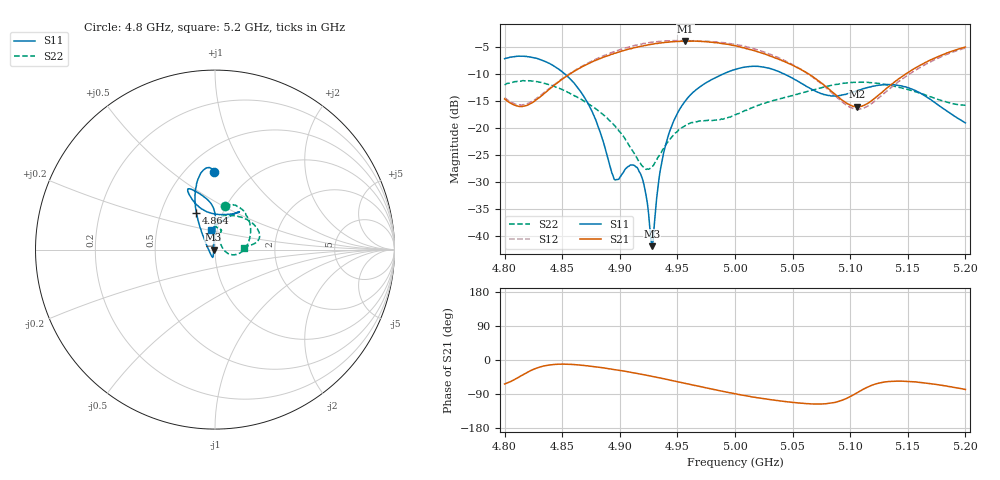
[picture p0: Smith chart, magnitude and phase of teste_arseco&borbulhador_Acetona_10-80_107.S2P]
! Network Analyzer HP8722D
! Hewlett-Packard
! Data name: Linha & Wilkinson
! Saver's name: Rodrigo Anjos
! Comments: Teste da utilização de aquisição
! continua pelo VNA HP8722D
! Time and date: 25/4/2025 16:09
!  Frequency  S11  S21  S12  S22
# HZ  S  MA R 50
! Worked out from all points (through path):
!   401 points, 4.8 GHz to 5.2 GHz, reference 50 ohm
!   highest |S21| = -3.97 dB at 4.957 GHz (marker M1); lowest = -16.1 dB at 5.106 GHz (marker M2)
!   lowest |S11| = -41.9 dB at 4.928 GHz (marker M3), VSWR 1.02, Z = 49.2 - j0.0534 ohm
!   |S11| at or under -10 dB: 4.852 GHz to 4.99 GHz (138.4 MHz wide, 2.81 % of centre); 5.042 GHz to end of sweep
!   |S22| runs from -27.7 to -11.3 dB; largest |S21 - S12| = 1.2
!   S11 on the Smith chart (normalised r, x): 4.8 GHz: 0.68, +0.73; 4.864 GHz: 0.75, +0.33; 5.2 GHz: 0.94, +0.21
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4.8e9  0.4342 90.6  0.1846 -63.4  0.1897 70.1  0.2487 76.9
4.82e9  0.4532 96.9  0.162 -31.9  0.1678 98.9  0.2709 61.4
4.844e9  0.3652 106.8  0.2517 -11.6  0.2547 119.3  0.2389 35.6
4.864e9  0.2312 116.7  0.3502 -12.9  0.3542 120.9  0.1892 11.7
4.867e9  0.2084 118.4  0.3653 -14.0  0.3695 120.6  0.1821 8.4
4.88e9  0.1115 129.0  0.4241 -18.5  0.4338 118.1  0.1476 -5.5
4.895e9  0.03366 -173.7  0.487 -25.2  0.5028 113.7  0.1062 -15.9
4.91e9  0.04541 -107.8  0.5385 -32.6  0.5643 107.0  0.06384 -13.7
4.917e9  0.03911 -104.8  0.5617 -36.7  0.5889 103.3  0.0474 -0.4
4.922e9  0.02637 -109.8  0.5762 -39.2  0.6035 100.5  0.04207 16.9
4.928e9  0.008068 -176.1  0.5926 -43.2  0.6172 96.8  0.04399 41.4
4.93e9  0.01298 127.0  0.5964 -44.4  0.621 95.7  0.04676 48.9
4.934e9  0.03364 101.1  0.6056 -47.0  0.628 93.1  0.05493 58.7
4.943e9  0.09101 91.2  0.6202 -52.6  0.6364 87.3  0.07714 69.1
4.957e9  0.1779 89.5  0.6332 -61.6  0.6382 78.3  0.1052 71.4
5e9  0.3458 109.1  0.5722 -89.2  0.5908 50.6  0.1318 88.3
5.03e9  0.354 115.1  0.4625 -104.2  0.4802 33.6  0.174 85.2
5.067e9  0.226 105.1  0.2997 -115.9  0.2963 23.7  0.2222 56.9
5.106e9  0.22 64.5  0.1564 -86.5  0.1485 56.6  0.263 24.7
5.134e9  0.2505 57.2  0.2428 -56.7  0.2283 88.7  0.2477 12.3
5.168e9  0.1877 69.3  0.4144 -61.9  0.3982 85.1  0.1958 7.0
5.2e9  0.111 100.8  0.557 -77.8  0.5459 70.0  0.1614 3.6
